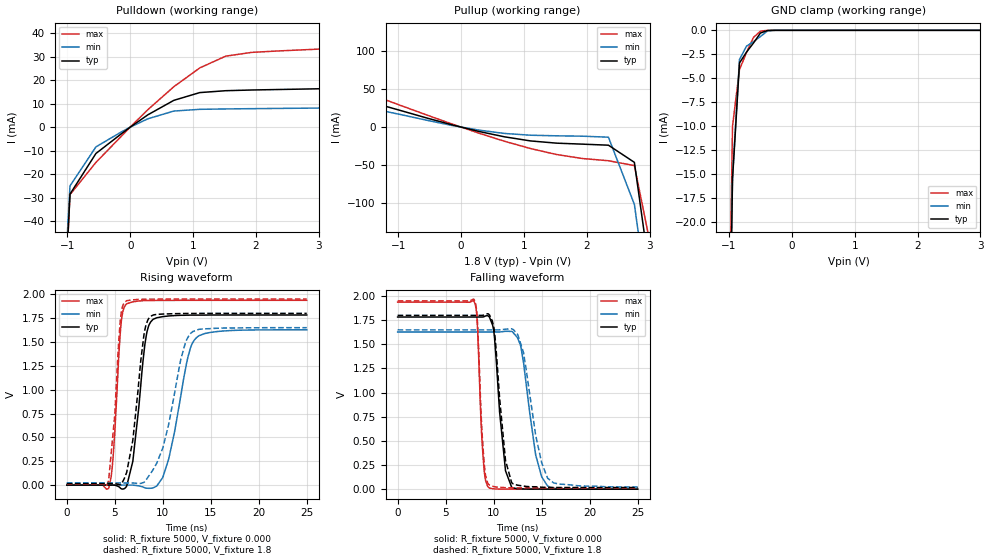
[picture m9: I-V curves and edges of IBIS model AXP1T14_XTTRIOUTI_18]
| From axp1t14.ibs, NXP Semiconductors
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|   Model AXP1T14_XTTRIOUTI_18
[Model]   AXP1T14_XTTRIOUTI_18
Model_type   Output
Polarity   Inverting
Vmeas =  0.9V
Cref  =  5e-12
Rref  =  10e+3
Vref  =  0V
C_comp   1.9920pF   1.7920pF   2.0420pF
[Model Spec]
| Note: The input and output voltage ratings may be exceeded if the input and
|   output current ratings are observed (please refer to the data sheet)
|   Subparameter   typ   min   max
| Timing Thresholds
Vmeas   0.9   0.825   0.975
|Ambient temperature:   25   85   -40
[Temperature Range]   30   90   -35
[Voltage Range]   1.8   1.65   1.95
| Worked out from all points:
|   slope of the pulldown table from 0 to 0.27 V, typ, clamps not added: 53.6 ohm
|   slope of the pullup table from 0 to 0.27 V, typ, clamps not added: 49 ohm
|   GND clamp passes 1 mA (typ) near -0.58 V on its own axis
|   rising waveform, R_fixture 5000, V_fixture 0.000: 20-80 % time 1.08ns typ, 1.8ns min, 653ps max; typ from 0 V to 1.78 V
|   rising waveform, R_fixture 5000, V_fixture 1.8: 20-80 % time 1.18ns typ, 2.06ns min, 761ps max; typ from 0.017 V to 1.8 V
|   falling waveform, R_fixture 5000, V_fixture 0.000: 20-80 % time 868ps typ, 1.33ns min, 494ps max; typ from 1.78 V to 0 V
|   falling waveform, R_fixture 5000, V_fixture 1.8: 20-80 % time 905ps typ, 1.59ns min, 524ps max; typ from 1.8 V to 0.017 V
|Process Range   nominal   slow   fast
[GND_clamp]
|   voltage   I(typ)   I(min)   I(max)
-5.5V     -2.957A    -2.756A    -3.17A
-1.056V   -61.76mA   -55.78mA   -55.53mA
-944.4mV  -15.58mA   -15.37mA   -10.03mA
-833.3mV  -3.412mA   -3.048mA   -4.112mA
-722.2mV  -2.287mA   -1.662mA   -2.321mA
-611.1mV  -1.33mA    -1.186mA   -742.4uA
-500mV    -281.9uA   -644uA     -90.52uA
-388.9mV  -19.05uA   -70.75uA   -2.215uA
-277.8mV  -361.8nA   -2.29uA    -18.12nA
11V       0A         0A         0A
[Pulldown]
|   voltage   I(typ)   I(min)   I(max)
-5.5V     -2.957A    -2.756A    -3.171A
-1.371V   -248mA     -226mA     -259mA
-958mV    -28.5mA    -25mA      -28.7mA
-545mV    -11.2mA    -8.39mA    -15mA
281mV     5.24mA     3.55mA     7.43mA
694mV     11.4mA     6.85mA     17.2mA
1.52V     15.5mA     7.74mA     30.2mA
5.649V    18.2mA     9.16mA     36.5mA
6.887V    20.8mA     10.6mA     40.8mA
7.3V      22.2mA     11.3mA     43mA
8.952V    29.5mA     15.2mA     55.7mA
11V       42.5mA     22.1mA     78.2mA
[Pullup]
|   voltage   I(typ)   I(min)   I(max)
-5.5V     126.2mA    98.71mA    164.1mA
-4.674V   107.7mA    83.41mA    140.4mA
-4.261V   98.33mA    75.81mA    128.3mA
-545mV    12.07mA    9.093mA    16.03mA
280.8mV   -5.628mA   -3.903mA   -7.89mA
1.107V    -18.23mA   -10.68mA   -28.33mA
1.52V     -21.17mA   -11.47mA   -36.18mA
1.932V    -22.48mA   -11.95mA   -41.48mA
2.345V    -23.86mA   -13.29mA   -44.39mA
2.758V    -46.54mA   -102.2mA   -50.83mA
3.171V    -292.7mA   -349.6mA   -220.3mA
11V       -5.847A    -5.529A    -6.2A
[Ramp]
| variable   typ   min   max
dV/dt_r  1.1040E+00/1.0960E-09  1.0040E+00/1.8520E-09  1.2030E+00/6.7520E-10
dV/dt_f  1.1040E+00/8.3240E-10  1.0040E+00/1.3720E-09  1.2030E+00/5.2030E-10
R_load = 5000
[Rising Waveform]
R_fixture   = 5000
V_fixture   = 0.000
V_fixture_min = 0.000
V_fixture_max = 0.000
| time   V(typ)   V(min)   V(max)
0s        5.847nV    11.08nV    4.368nV
4.36ns    41.16uV    3.135uV    -36.81mV
4.82ns    562.8uV    -507.8nV   285.2mV
5.64ns    -36.09mV   -385nV     1.675V
6.24ns    -10.65mV   300.5uV    1.901V
8.16ns    1.491V     -29.02mV   1.934V
8.96ns    1.735V     -29.75mV   1.935V
10.62ns   1.773V     274.6mV    1.936V
13.4ns    1.782V     1.534V     1.937V
25ns      1.783V     1.628V     1.937V
[Rising Waveform]
R_fixture   = 5000
V_fixture   = 1.8
V_fixture_min = 1.65
V_fixture_max = 1.95
| time   V(typ)   V(min)   V(max)
0s        17.02mV    22.32mV    13.2mV
4.36ns    17.05mV    22.33mV    46.64mV
5ns       16.5mV     22.32mV    737.5mV
5.58ns    5.115mV    22.32mV    1.727V
6.24ns    133.6mV    22.58mV    1.933V
8.04ns    1.576V     28.7mV     1.948V
8.68ns    1.764V     115.1mV    1.949V
10ns      1.793V     388.3mV    1.95V
12.9ns    1.799V     1.59V      1.95V
25ns      1.8V       1.65V      1.95V
[Falling Waveform]
R_fixture   = 5000
V_fixture   = 0.000
V_fixture_min = 0.000
V_fixture_max = 0.000
| time   V(typ)   V(min)   V(max)
0s        1.783V     1.628V     1.937V
7.94ns    1.783V     1.628V     1.952V
8.26ns    1.783V     1.628V     1.784V
8.98ns    1.786V     1.628V     239.9mV
9.56ns    1.784V     1.628V     11.66mV
10.04ns   1.62V      1.628V     3.5mV
11.24ns   190.6mV    1.635V     1.127mV
11.88ns   19.94mV    1.634V     297.8uV
15.62ns   466.5uV    32.28mV    457nV
25ns      20.17nV    24.28uV    5.803nV
[Falling Waveform]
R_fixture   = 5000
V_fixture   = 1.8
V_fixture_min = 1.65
V_fixture_max = 1.95
| time   V(typ)   V(min)   V(max)
0s        1.8V       1.65V      1.95V
8ns       1.8V       1.65V      1.958V
8.3ns     1.8V       1.65V      1.758V
9ns       1.803V     1.65V      290.7mV
9.58ns    1.803V     1.65V      41.82mV
11.24ns   296.8mV    1.657V     15.35mV
11.88ns   67.15mV    1.661V     13.73mV
13.12ns   32.24mV    1.412V     13.25mV
15.62ns   18.06mV    113.7mV    13.2mV
25ns      17.02mV    22.39mV    13.2mV
